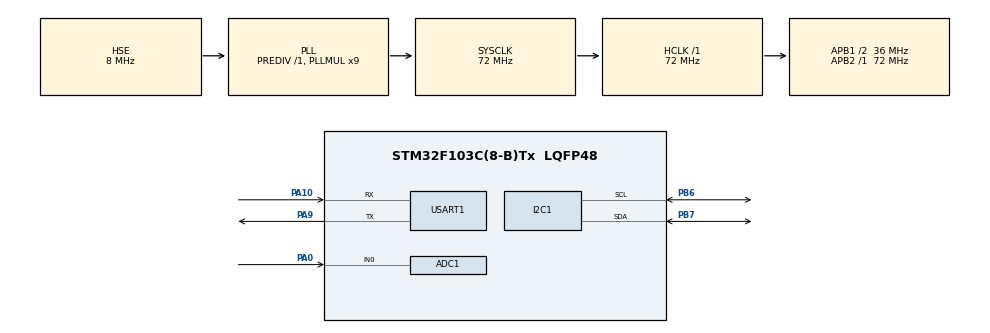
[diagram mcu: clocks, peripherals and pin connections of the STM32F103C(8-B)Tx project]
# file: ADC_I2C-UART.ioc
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ADC1.Channel-0\#ChannelRegularConversion=ADC_CHANNEL_0
ADC1.ContinuousConvMode=ENABLE
ADC1.NbrOfConversionFlag=1
ADC1.Rank-0\#ChannelRegularConversion=1
ADC1.SamplingTime-0\#ChannelRegularConversion=ADC_SAMPLETIME_1CYCLE_5
ADC1.master=1
Dma.ADC1.0.Direction=DMA_PERIPH_TO_MEMORY
Dma.ADC1.0.Instance=DMA1_Channel1
Dma.ADC1.0.MemDataAlignment=DMA_MDATAALIGN_HALFWORD
Dma.ADC1.0.MemInc=DMA_MINC_ENABLE
Dma.ADC1.0.Mode=DMA_CIRCULAR
Dma.ADC1.0.PeriphDataAlignment=DMA_PDATAALIGN_HALFWORD
Dma.ADC1.0.PeriphInc=DMA_PINC_DISABLE
Dma.ADC1.0.Priority=DMA_PRIORITY_LOW
Dma.Request0=ADC1
Mcu.Family=STM32F1
Mcu.Name=STM32F103C(8-B)Tx
Mcu.Package=LQFP48
NVIC.ADC1_2_IRQn=true\:0\:0\:false\:false\:true\:true\:true\:true
NVIC.DMA1_Channel1_IRQn=true\:0\:0\:false\:false\:true\:false\:true\:true
NVIC.PriorityGroup=NVIC_PRIORITYGROUP_4
PA0-WKUP.Signal=ADCx_IN0
PA10.Mode=Asynchronous
PA10.Signal=USART1_RX
PA13.Mode=Serial_Wire
PA13.Signal=SYS_JTMS-SWDIO
PA14.Mode=Serial_Wire
PA14.Signal=SYS_JTCK-SWCLK
PA9.Mode=Asynchronous
PA9.Signal=USART1_TX
PB6.Mode=I2C
PB6.Signal=I2C1_SCL
PB7.Mode=I2C
PB7.Signal=I2C1_SDA
PD0-OSC_IN.Mode=HSE-External-Oscillator
PD0-OSC_IN.Signal=RCC_OSC_IN
PD1-OSC_OUT.Mode=HSE-External-Oscillator
PD1-OSC_OUT.Signal=RCC_OSC_OUT
ProjectManager.HeapSize=0x200
ProjectManager.StackSize=0x400
ProjectManager.TargetToolchain=MDK-ARM V5.32
RCC.ADCPresc=RCC_ADCPCLK2_DIV6
RCC.AHBFreq_Value=72000000
RCC.APB1CLKDivider=RCC_HCLK_DIV2
RCC.APB1Freq_Value=36000000
RCC.APB1TimFreq_Value=72000000
RCC.APB2Freq_Value=72000000
RCC.APB2TimFreq_Value=72000000
RCC.HCLKFreq_Value=72000000
RCC.PLLMUL=RCC_PLL_MUL9
RCC.PLLSourceVirtual=RCC_PLLSOURCE_HSE
RCC.SYSCLKFreq_VALUE=72000000
RCC.SYSCLKSource=RCC_SYSCLKSOURCE_PLLCLK
RCC.USBFreq_Value=72000000
SH.ADCx_IN0.0=ADC1_IN0,IN0
USART1.VirtualMode=VM_ASYNC
board=custom

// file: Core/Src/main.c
/* USER CODE BEGIN Header */
/**
  ******************************************************************************
  * @file           : main.c
  * @brief          : Main program body
  ******************************************************************************
  * @attention
  *
  * Copyright (c) 2024 STMicroelectronics.
  * All rights reserved.
  *
  * This software is licensed under terms that can be found in the LICENSE file
  * in the root directory of this software component.
  * If no LICENSE file comes with this software, it is provided AS-IS.
  *
  ******************************************************************************
  */
/* USER CODE END Header */
#include "main.h"

/* USER CODE BEGIN Includes */

#include "lcd16x2_i2c.h"
#include "stdio.h"
#include "string.h"

/* USER CODE END Includes */

ADC_HandleTypeDef hadc1;
DMA_HandleTypeDef hdma_adc1;

I2C_HandleTypeDef hi2c1;

UART_HandleTypeDef huart1;

void SystemClock_Config(void);
static void MX_GPIO_Init(void);
static void MX_DMA_Init(void);
static void MX_ADC1_Init(void);
static void MX_I2C1_Init(void);
static void MX_USART1_UART_Init(void);

/* USER CODE BEGIN 0 */

uint16_t nilaiAdc;
char msg[20];

/* USER CODE END 0 */

int main(void)
{

  /* MCU Configuration--------------------------------------------------------*/

  /* Reset of all peripherals, Initializes the Flash interface and the Systick. */
  HAL_Init();

  /* Configure the system clock */
  SystemClock_Config();

  /* Initialize all configured peripherals */
  MX_GPIO_Init();
  MX_DMA_Init();
  MX_ADC1_Init();
  MX_I2C1_Init();
  MX_USART1_UART_Init();
  /* USER CODE BEGIN 2 */

	lcd16x2_i2c_init(&hi2c1);
  lcd16x2_i2c_setCursor(0, 3);
	lcd16x2_i2c_printf("NILAI ADC");

  /* USER CODE END 2 */

  /* Infinite loop */
  while (1)
  {

    /* USER CODE BEGIN 3 */

		HAL_ADC_Start(&hadc1);
		HAL_ADC_PollForConversion(&hadc1, 100);
		nilaiAdc = HAL_ADC_GetValue(&hadc1);

		sprintf(msg, "ADC: %hu \r\n", nilaiAdc);
		HAL_UART_Transmit(&huart1, (uint8_t*)msg, strlen(msg), HAL_MAX_DELAY);
		//HAL_Delay(500);

		char adcStr[5];
		sprintf(adcStr, "%d", nilaiAdc);

		lcd16x2_i2c_setCursor(1, 5);
		lcd16x2_i2c_printf("%s", adcStr);
		HAL_Delay(500);
	  lcd16x2_i2c_setCursor(1, 0);
		lcd16x2_i2c_printf("                ");

  }
  /* USER CODE END 3 */
}

void SystemClock_Config(void)
{
  RCC_OscInitTypeDef RCC_OscInitStruct = {0};
  RCC_ClkInitTypeDef RCC_ClkInitStruct = {0};
  RCC_PeriphCLKInitTypeDef PeriphClkInit = {0};

  /** Initializes the RCC Oscillators according to the specified parameters
  * in the RCC_OscInitTypeDef structure.
  */
  RCC_OscInitStruct.OscillatorType = RCC_OSCILLATORTYPE_HSE;
  RCC_OscInitStruct.HSEState = RCC_HSE_ON;
  RCC_OscInitStruct.HSEPredivValue = RCC_HSE_PREDIV_DIV1;
  RCC_OscInitStruct.HSIState = RCC_HSI_ON;
  RCC_OscInitStruct.PLL.PLLState = RCC_PLL_ON;
  RCC_OscInitStruct.PLL.PLLSource = RCC_PLLSOURCE_HSE;
  RCC_OscInitStruct.PLL.PLLMUL = RCC_PLL_MUL9;
  if (HAL_RCC_OscConfig(&RCC_OscInitStruct) != HAL_OK)
  {
    Error_Handler();
  }

  /** Initializes the CPU, AHB and APB buses clocks
  */
  RCC_ClkInitStruct.ClockType = RCC_CLOCKTYPE_HCLK|RCC_CLOCKTYPE_SYSCLK
                              |RCC_CLOCKTYPE_PCLK1|RCC_CLOCKTYPE_PCLK2;
  RCC_ClkInitStruct.SYSCLKSource = RCC_SYSCLKSOURCE_PLLCLK;
  RCC_ClkInitStruct.AHBCLKDivider = RCC_SYSCLK_DIV1;
  RCC_ClkInitStruct.APB1CLKDivider = RCC_HCLK_DIV2;
  RCC_ClkInitStruct.APB2CLKDivider = RCC_HCLK_DIV1;

  if (HAL_RCC_ClockConfig(&RCC_ClkInitStruct, FLASH_LATENCY_2) != HAL_OK)
  {
    Error_Handler();
  }
  PeriphClkInit.PeriphClockSelection = RCC_PERIPHCLK_ADC;
  PeriphClkInit.AdcClockSelection = RCC_ADCPCLK2_DIV6;
  if (HAL_RCCEx_PeriphCLKConfig(&PeriphClkInit) != HAL_OK)
  {
    Error_Handler();
  }
}

static void MX_ADC1_Init(void)
{

  ADC_ChannelConfTypeDef sConfig = {0};

  /** Common config
  */
  hadc1.Instance = ADC1;
  hadc1.Init.ScanConvMode = ADC_SCAN_DISABLE;
  hadc1.Init.ContinuousConvMode = ENABLE;
  hadc1.Init.DiscontinuousConvMode = DISABLE;
  hadc1.Init.ExternalTrigConv = ADC_SOFTWARE_START;
  hadc1.Init.DataAlign = ADC_DATAALIGN_RIGHT;
  hadc1.Init.NbrOfConversion = 1;
  if (HAL_ADC_Init(&hadc1) != HAL_OK)
  {
    Error_Handler();
  }

  /** Configure Regular Channel
  */
  sConfig.Channel = ADC_CHANNEL_0;
  sConfig.Rank = ADC_REGULAR_RANK_1;
  sConfig.SamplingTime = ADC_SAMPLETIME_1CYCLE_5;
  if (HAL_ADC_ConfigChannel(&hadc1, &sConfig) != HAL_OK)
  {
    Error_Handler();
  }

}

static void MX_I2C1_Init(void)
{

  hi2c1.Instance = I2C1;
  hi2c1.Init.ClockSpeed = 100000;
  hi2c1.Init.DutyCycle = I2C_DUTYCYCLE_2;
  hi2c1.Init.OwnAddress1 = 0;
  hi2c1.Init.AddressingMode = I2C_ADDRESSINGMODE_7BIT;
  hi2c1.Init.DualAddressMode = I2C_DUALADDRESS_DISABLE;
  hi2c1.Init.OwnAddress2 = 0;
  hi2c1.Init.GeneralCallMode = I2C_GENERALCALL_DISABLE;
  hi2c1.Init.NoStretchMode = I2C_NOSTRETCH_DISABLE;
  if (HAL_I2C_Init(&hi2c1) != HAL_OK)
  {
    Error_Handler();
  }

}

static void MX_USART1_UART_Init(void)
{

  huart1.Instance = USART1;
  huart1.Init.BaudRate = 115200;
  huart1.Init.WordLength = UART_WORDLENGTH_8B;
  huart1.Init.StopBits = UART_STOPBITS_1;
  huart1.Init.Parity = UART_PARITY_NONE;
  huart1.Init.Mode = UART_MODE_TX_RX;
  huart1.Init.HwFlowCtl = UART_HWCONTROL_NONE;
  huart1.Init.OverSampling = UART_OVERSAMPLING_16;
  if (HAL_UART_Init(&huart1) != HAL_OK)
  {
    Error_Handler();
  }

}

static void MX_DMA_Init(void)
{

  /* DMA controller clock enable */
  __HAL_RCC_DMA1_CLK_ENABLE();

  /* DMA interrupt init */
  /* DMA1_Channel1_IRQn interrupt configuration */
  HAL_NVIC_SetPriority(DMA1_Channel1_IRQn, 0, 0);
  HAL_NVIC_EnableIRQ(DMA1_Channel1_IRQn);

}

static void MX_GPIO_Init(void)
{

  /* GPIO Ports Clock Enable */
  __HAL_RCC_GPIOD_CLK_ENABLE();
  __HAL_RCC_GPIOA_CLK_ENABLE();
  __HAL_RCC_GPIOB_CLK_ENABLE();

}

void Error_Handler(void)
{
  __disable_irq();
  while (1)
  {
  }
}
